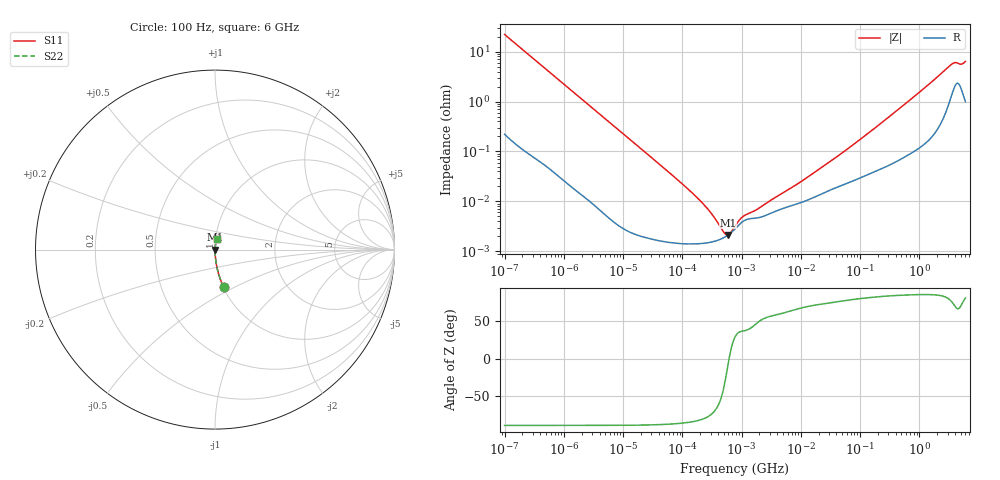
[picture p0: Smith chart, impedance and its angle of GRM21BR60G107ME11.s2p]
!Murata Part Number: GRM21BR60G107ME11
!These Parameters are Measured in Series Mode Connection
!Data Generated on Mar 30, 2021
!  o--ll--o
!Port1  Port2
!  o------o
!Operation Temp=25[degC], DC Bias Voltage=0[V]
!Freq. Start=100[Hz] Stop=6[GHz] 401[Steps]
# Hz S RI R 50
!Freq.(Hz) S11(Real) S11(Imag) S21(Real) S21(Imag) S12(Real) S12(Imag) S22(Real) S22(Imag)
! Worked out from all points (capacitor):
!   401 points, 100 Hz to 6 GHz, reference 50 ohm
!   read as one part in series: C = 71.9 uF near 109 Hz
!   lowest |Z| = 2.14 mohm at 592.1 kHz (marker M1)
!   series resonance near 615.8 kHz, so ESL is about 930 pH
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100  0.0484 -0.2098  0.9516 0.2098  0.9516 0.2098  0.0484 -0.2098
120  0.0347 -0.1782  0.9653 0.1782  0.9653 0.1782  0.0347 -0.1782
187  0.0149 -0.1165  0.9851 0.1165  0.9851 0.1165  0.0149 -0.1165
350  0.0047 -0.0632  0.9953 0.0632  0.9953 0.0632  0.0047 -0.0632
750  0.00123 -0.0298  0.9988 0.0298  0.9988 0.0298  0.00123 -0.0298
2008  0.00026 -0.0112  0.9997 0.0112  0.9997 0.0112  0.00026 -0.0112
40335  1.66e-05 -0.000565  1 0.000565  1 0.000565  1.66e-05 -0.000565
202169  1.43e-05 -0.000101  1 0.000101  1 0.000101  1.43e-05 -0.000101
231233  1.45e-05 -8.51e-05  1 8.51e-05  1 8.51e-05  1.45e-05 -8.51e-05
592111  2.12e-05 -2.8e-06  1 2.8e-06  1 2.8e-06  2.12e-05 -2.8e-06
774597  2.81e-05 1.55e-05  1 -1.55e-05  1 -1.55e-05  2.81e-05 1.55e-05
2594782  5.28e-05 7.48e-05  0.9999 -7.48e-05  0.9999 -7.48e-05  5.28e-05 7.48e-05
2967816  5.65e-05 8.47e-05  0.9999 -8.47e-05  0.9999 -8.47e-05  5.65e-05 8.47e-05
7266822  8.34e-05 0.000175  0.9999 -0.000175  0.9999 -0.000175  8.34e-05 0.000175
1.555665e7  0.000116 0.000335  0.9999 -0.000335  0.9999 -0.000335  0.000116 0.000335
6.233367e7  0.000235 0.00111  0.9998 -0.00111  0.9998 -0.00111  0.000235 0.00111
3.124326e8  0.000557 0.00497  0.9994 -0.00497  0.9994 -0.00497  0.000557 0.00497
1.197065e9  0.00171 0.0182  0.9983 -0.0182  0.9983 -0.0182  0.00171 0.0182
3.352442e9  0.0137 0.0511  0.9863 -0.0511  0.9863 -0.0511  0.0137 0.0511
3.8344e9  0.0209 0.0545  0.9791 -0.0545  0.9791 -0.0545  0.0209 0.0545
5.016141e9  0.0211 0.0506  0.9789 -0.0506  0.9789 -0.0506  0.0211 0.0506
6e9  0.0137 0.0613  0.9863 -0.0613  0.9863 -0.0613  0.0137 0.0613
